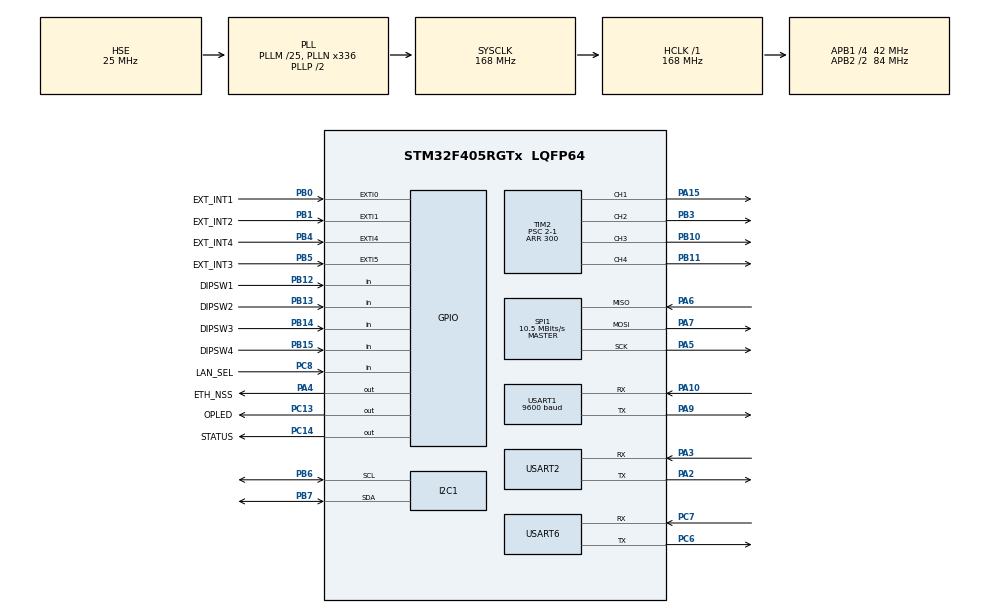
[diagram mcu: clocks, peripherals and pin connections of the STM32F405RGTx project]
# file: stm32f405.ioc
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FREERTOS.Tasks01=eventTask,0,2048,EventTask,Default,NULL,Dynamic,NULL,NULL
FREERTOS.Timers01=opledTimer,ledTimerCallback,osTimerPeriodic,Default,NULL,Dynamic,NULL
FREERTOS.configMINIMAL_STACK_SIZE=512
FREERTOS.configTIMER_TASK_STACK_DEPTH=2048
FREERTOS.configTOTAL_HEAP_SIZE=32768
FREERTOS.configUSE_NEWLIB_REENTRANT=1
FREERTOS.configUSE_TIMERS=1
Mcu.Family=STM32F4
Mcu.Name=STM32F405RGTx
Mcu.Package=LQFP64
NVIC.EXTI0_IRQn=true\:5\:0\:false\:false\:true\:false\:true\:true\:true
NVIC.EXTI1_IRQn=true\:5\:0\:false\:false\:true\:false\:true\:true\:true
NVIC.EXTI4_IRQn=true\:5\:0\:false\:false\:true\:false\:true\:true\:true
NVIC.EXTI9_5_IRQn=true\:5\:0\:false\:false\:true\:false\:true\:true\:true
NVIC.PriorityGroup=NVIC_PRIORITYGROUP_4
NVIC.TIM4_IRQn=true\:15\:0\:false\:false\:true\:false\:false\:true\:true
NVIC.TIM7_IRQn=true\:5\:0\:false\:false\:true\:true\:true\:true\:true
NVIC.TIM8_BRK_TIM12_IRQn=true\:5\:0\:false\:false\:true\:true\:true\:true\:true
NVIC.TIM8_TRG_COM_TIM14_IRQn=true\:5\:0\:false\:false\:true\:true\:true\:true\:true
NVIC.TIM8_UP_TIM13_IRQn=true\:5\:0\:false\:false\:true\:true\:true\:true\:true
NVIC.TimeBase=TIM4_IRQn
NVIC.TimeBaseIP=TIM4
NVIC.USART1_IRQn=true\:5\:0\:false\:false\:true\:true\:true\:true\:true
NVIC.USART2_IRQn=true\:5\:0\:false\:false\:true\:true\:true\:true\:true
NVIC.USART6_IRQn=true\:5\:0\:false\:false\:true\:true\:true\:true\:true
PA10.GPIO_PuPd=GPIO_PULLUP
PA10.Mode=Asynchronous
PA10.Signal=USART1_RX
PA13.Mode=Serial_Wire
PA13.Signal=SYS_JTMS-SWDIO
PA14.Mode=Serial_Wire
PA14.Signal=SYS_JTCK-SWCLK
PA15.Signal=S_TIM2_CH1_ETR
PA2.Mode=Asynchronous
PA2.Signal=USART2_TX
PA3.GPIO_PuPd=GPIO_PULLUP
PA3.Mode=Asynchronous
PA3.Signal=USART2_RX
PA4.GPIO_Label=ETH_NSS
PA4.Signal=GPIO_Output
PA5.Mode=Full_Duplex_Master
PA5.Signal=SPI1_SCK
PA6.Mode=Full_Duplex_Master
PA6.Signal=SPI1_MISO
PA7.Mode=Full_Duplex_Master
PA7.Signal=SPI1_MOSI
PA9.Mode=Asynchronous
PA9.Signal=USART1_TX
PB0.GPIO_Label=EXT_INT1
PB0.GPIO_ModeDefaultEXTI=GPIO_MODE_IT_RISING
PB0.Signal=GPXTI0
PB1.GPIO_Label=EXT_INT2
PB1.GPIO_ModeDefaultEXTI=GPIO_MODE_IT_RISING
PB1.Signal=GPXTI1
PB10.Signal=S_TIM2_CH3
PB11.Signal=S_TIM2_CH4
PB12.GPIO_Label=DIPSW1
PB12.GPIO_PuPd=GPIO_PULLUP
PB12.Signal=GPIO_Input
PB13.GPIO_Label=DIPSW2
PB13.GPIO_PuPd=GPIO_PULLUP
PB13.Signal=GPIO_Input
PB14.GPIO_Label=DIPSW3
PB14.GPIO_PuPd=GPIO_PULLUP
PB14.Signal=GPIO_Input
PB15.GPIO_Label=DIPSW4
PB15.GPIO_PuPd=GPIO_PULLUP
PB15.Signal=GPIO_Input
PB3.Signal=S_TIM2_CH2
PB4.GPIO_Label=EXT_INT4
PB4.GPIO_ModeDefaultEXTI=GPIO_MODE_IT_RISING
PB4.Signal=GPXTI4
PB5.GPIO_Label=EXT_INT3
PB5.GPIO_ModeDefaultEXTI=GPIO_MODE_IT_RISING
PB5.Signal=GPXTI5
PB6.Mode=I2C
PB6.Signal=I2C1_SCL
PB7.Mode=I2C
PB7.Signal=I2C1_SDA
PC13-ANTI_TAMP.GPIO_Label=OPLED
PC13-ANTI_TAMP.Signal=GPIO_Output
PC14-OSC32_IN.GPIO_Label=STATUS
PC14-OSC32_IN.Signal=GPIO_Output
PC6.Mode=Asynchronous
PC6.Signal=USART6_TX
PC7.Mode=Asynchronous
PC7.Signal=USART6_RX
PC8.GPIO_Label=LAN_SEL
PC8.GPIO_PuPd=GPIO_NOPULL
PC8.Signal=GPIO_Input
PH0-OSC_IN.Mode=HSE-External-Oscillator
PH0-OSC_IN.Signal=RCC_OSC_IN
PH1-OSC_OUT.Mode=HSE-External-Oscillator
PH1-OSC_OUT.Signal=RCC_OSC_OUT
ProjectManager.HeapSize=0x200
ProjectManager.StackSize=0x400
ProjectManager.TargetToolchain=STM32CubeIDE
RCC.48MHZClocksFreq_Value=84000000
RCC.AHBFreq_Value=168000000
RCC.APB1CLKDivider=RCC_HCLK_DIV4
RCC.APB1Freq_Value=42000000
RCC.APB1TimFreq_Value=84000000
RCC.APB2CLKDivider=RCC_HCLK_DIV2
RCC.APB2Freq_Value=84000000
RCC.APB2TimFreq_Value=168000000
RCC.CortexFreq_Value=168000000
RCC.HCLKFreq_Value=168000000
RCC.HSE_VALUE=25000000
RCC.HSI_VALUE=16000000
RCC.LSE_VALUE=32768
RCC.PLLM=25
RCC.PLLN=336
RCC.PLLSourceVirtual=RCC_PLLSOURCE_HSE
RCC.SYSCLKFreq_VALUE=168000000
RCC.SYSCLKSource=RCC_SYSCLKSOURCE_PLLCLK
RCC.VCOOutputFreq_Value=336000000
SH.S_TIM2_CH1_ETR.0=TIM2_CH1,PWM Generation1 CH1
SH.S_TIM2_CH2.0=TIM2_CH2,PWM Generation2 CH2
SH.S_TIM2_CH3.0=TIM2_CH3,PWM Generation3 CH3
SH.S_TIM2_CH4.0=TIM2_CH4,PWM Generation4 CH4
SPI1.BaudRatePrescaler=SPI_BAUDRATEPRESCALER_8
SPI1.CalculateBaudRate=10.5 MBits/s
SPI1.Direction=SPI_DIRECTION_2LINES
SPI1.Mode=SPI_MODE_MASTER
SPI1.VirtualType=VM_MASTER
TIM12.Period=10
TIM12.Prescaler=84-1
TIM13.Period=10
TIM13.Prescaler=84-1
TIM14.Period=10
TIM14.Prescaler=84-1
TIM2.Channel-PWM\ Generation1\ CH1=TIM_CHANNEL_1
TIM2.Channel-PWM\ Generation2\ CH2=TIM_CHANNEL_2
TIM2.Channel-PWM\ Generation3\ CH3=TIM_CHANNEL_3
TIM2.Channel-PWM\ Generation4\ CH4=TIM_CHANNEL_4
TIM2.OCFastMode_PWM-PWM\ Generation1\ CH1=TIM_OCFAST_ENABLE
TIM2.OCFastMode_PWM-PWM\ Generation2\ CH2=TIM_OCFAST_ENABLE
TIM2.OCFastMode_PWM-PWM\ Generation3\ CH3=TIM_OCFAST_ENABLE
TIM2.OCFastMode_PWM-PWM\ Generation4\ CH4=TIM_OCFAST_ENABLE
TIM2.Period=300
TIM2.Prescaler=2-1
TIM7.Period=10
TIM7.Prescaler=84-1
USART1.BaudRate=9600
USART1.VirtualMode=VM_ASYNC
USART2.VirtualMode=VM_ASYNC
USART6.VirtualMode=VM_ASYNC
VP_FREERTOS_VS_CMSIS_V1.Mode=CMSIS_V1
VP_SYS_VS_tim4.Mode=TIM4
VP_TIM12_VS_ClockSourceINT.Mode=Internal
VP_TIM13_VS_ClockSourceINT.Mode=Enable_Timer
VP_TIM14_VS_ClockSourceINT.Mode=Enable_Timer
VP_TIM7_VS_ClockSourceINT.Mode=Enable_Timer
board=custom

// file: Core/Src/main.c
/* USER CODE BEGIN Header */
/**
  ******************************************************************************
  * @file           : main.c
  * @brief          : Main program body
  ******************************************************************************
  * @attention
  *
  * Copyright (c) 2024 STMicroelectronics.
  * All rights reserved.
  *
  * This software is licensed under terms that can be found in the LICENSE file
  * in the root directory of this software component.
  * If no LICENSE file comes with this software, it is provided AS-IS.
  *
  ******************************************************************************
  */
/* USER CODE END Header */
#include "main.h"
#include "cmsis_os.h"

/* USER CODE BEGIN Includes */
#include "m_normal.h"
#include "m_pwm.h"
#include "m_serial.h"
#include "m_env.h"
#include "m_ether.h"
/* USER CODE END Includes */

/* USER CODE BEGIN PTD */
typedef  void (*pFunction)(void);
/* USER CODE END PTD */

/* USER CODE BEGIN PD */
#define COMPUTE_BUILD_YEAR \
    ( \
        (__DATE__[ 7] - '0') * 1000 + \
        (__DATE__[ 8] - '0') *  100 + \
        (__DATE__[ 9] - '0') *   10 + \
        (__DATE__[10] - '0') \
    )

#define COMPUTE_BUILD_DAY \
    ( \
        ((__DATE__[4] >= '0') ? (__DATE__[4] - '0') * 10 : 0) + \
        (__DATE__[5] - '0') \
    )

#define BUILD_MONTH_IS_JAN (__DATE__[0] == 'J' && __DATE__[1] == 'a' && __DATE__[2] == 'n')
#define BUILD_MONTH_IS_FEB (__DATE__[0] == 'F')
#define BUILD_MONTH_IS_MAR (__DATE__[0] == 'M' && __DATE__[1] == 'a' && __DATE__[2] == 'r')
#define BUILD_MONTH_IS_APR (__DATE__[0] == 'A' && __DATE__[1] == 'p')
#define BUILD_MONTH_IS_MAY (__DATE__[0] == 'M' && __DATE__[1] == 'a' && __DATE__[2] == 'y')
#define BUILD_MONTH_IS_JUN (__DATE__[0] == 'J' && __DATE__[1] == 'u' && __DATE__[2] == 'n')
#define BUILD_MONTH_IS_JUL (__DATE__[0] == 'J' && __DATE__[1] == 'u' && __DATE__[2] == 'l')
#define BUILD_MONTH_IS_AUG (__DATE__[0] == 'A' && __DATE__[1] == 'u')
#define BUILD_MONTH_IS_SEP (__DATE__[0] == 'S')
#define BUILD_MONTH_IS_OCT (__DATE__[0] == 'O')
#define BUILD_MONTH_IS_NOV (__DATE__[0] == 'N')
#define BUILD_MONTH_IS_DEC (__DATE__[0] == 'D')

#define COMPUTE_BUILD_MONTH \
    ( \
        (BUILD_MONTH_IS_JAN) ?  1 : \
        (BUILD_MONTH_IS_FEB) ?  2 : \
        (BUILD_MONTH_IS_MAR) ?  3 : \
        (BUILD_MONTH_IS_APR) ?  4 : \
        (BUILD_MONTH_IS_MAY) ?  5 : \
        (BUILD_MONTH_IS_JUN) ?  6 : \
        (BUILD_MONTH_IS_JUL) ?  7 : \
        (BUILD_MONTH_IS_AUG) ?  8 : \
        (BUILD_MONTH_IS_SEP) ?  9 : \
        (BUILD_MONTH_IS_OCT) ? 10 : \
        (BUILD_MONTH_IS_NOV) ? 11 : \
        (BUILD_MONTH_IS_DEC) ? 12 : \
        /* error default */  99 \
    )

#define COMPUTE_BUILD_HOUR ((__TIME__[0] - '0') * 10 + __TIME__[1] - '0')
#define COMPUTE_BUILD_MIN  ((__TIME__[3] - '0') * 10 + __TIME__[4] - '0')
#define COMPUTE_BUILD_SEC  ((__TIME__[6] - '0') * 10 + __TIME__[7] - '0')

#define BUILD_DATE_IS_BAD (__DATE__[0] == '?')

#define BUILD_YEAR  ((BUILD_DATE_IS_BAD) ? 99 : COMPUTE_BUILD_YEAR)
#define BUILD_MONTH ((BUILD_DATE_IS_BAD) ? 99 : COMPUTE_BUILD_MONTH)
#define BUILD_DAY   ((BUILD_DATE_IS_BAD) ? 99 : COMPUTE_BUILD_DAY)

#define BUILD_TIME_IS_BAD (__TIME__[0] == '?')

#define BUILD_HOUR  ((BUILD_TIME_IS_BAD) ? 99 :  COMPUTE_BUILD_HOUR)
#define BUILD_MIN   ((BUILD_TIME_IS_BAD) ? 99 :  COMPUTE_BUILD_MIN)
#define BUILD_SEC   ((BUILD_TIME_IS_BAD) ? 99 :  COMPUTE_BUILD_SEC)

//#define _VERSION_	"0.1.0"
#define _VERSION_	"0.2.0"	// Add LAN Mode

#define OP_LED_TIMER_TICK	500
/* USER CODE END PD */

I2C_HandleTypeDef hi2c1;

SPI_HandleTypeDef hspi1;

TIM_HandleTypeDef htim2;
TIM_HandleTypeDef htim7;
TIM_HandleTypeDef htim12;
TIM_HandleTypeDef htim13;
TIM_HandleTypeDef htim14;

UART_HandleTypeDef huart1;
UART_HandleTypeDef huart2;
UART_HandleTypeDef huart6;

osThreadId eventTaskHandle;
osTimerId opledTimerHandle;

void SystemClock_Config(void);
static void MX_GPIO_Init(void);
static void MX_I2C1_Init(void);
static void MX_SPI1_Init(void);
static void MX_TIM2_Init(void);
static void MX_TIM7_Init(void);
static void MX_TIM12_Init(void);
static void MX_TIM13_Init(void);
static void MX_TIM14_Init(void);
static void MX_USART2_UART_Init(void);
static void MX_USART6_UART_Init(void);
static void MX_USART1_UART_Init(void);
void EventTask(void const * argument);
void ledTimerCallback(void const * argument);

/* USER CODE BEGIN 0 */
const char* get_model(void)
{
	return "MCV2004";
}

static void banner(void)
{
	LOG_INF("======================================================");
	LOG_INF("\t YNS Vision LED Controller");
	LOG_INF("\t Build Data	: %04d-%02d-%02d %02d:%02d:%02d", BUILD_YEAR, BUILD_MONTH, BUILD_DAY,
			BUILD_HOUR, BUILD_MIN, BUILD_SEC);
	LOG_INF("\tModel		: %s", get_model());
	LOG_INF("\tVersion		: %s", _VERSION_);
	LOG_INF("======================================================");
}

#define SYSTEMBOOT_ADDR		0x1FFF0000
void JumpBootLoader(void)
{
    volatile uint32_t JumpAddress = *(__IO uint32_t*)(SYSTEMBOOT_ADDR+4);
    pFunction Jump_To_Application = (pFunction)JumpAddress;

    HAL_UART_DeInit(&huart6);
#if 0
    HAL_UART_DeInit(&huart1);
    HAL_UART_MspDeInit(&huart1);
#endif
    HAL_UART_MspDeInit(&huart6);

    HAL_RCC_DeInit();
#if 0
    HAL_SuspendTick();
    HAL_DeInit();
#else
    SysTick->CTRL = 0;
    SysTick->LOAD = 0;
    SysTick->VAL = 0;
#endif
    // __disable_irq();  << ---- check

    SYSCFG->MEMRMP = 0x01;

    __set_MSP(*(__IO uint32_t *)SYSTEMBOOT_ADDR);

    Jump_To_Application();
}
/* USER CODE END 0 */

int main(void)
{

  /* MCU Configuration--------------------------------------------------------*/

  /* Reset of all peripherals, Initializes the Flash interface and the Systick. */
  HAL_Init();

  /* Configure the system clock */
  SystemClock_Config();

  /* Initialize all configured peripherals */
  MX_GPIO_Init();
  MX_I2C1_Init();
  MX_SPI1_Init();
  MX_TIM2_Init();
  MX_TIM7_Init();
  MX_TIM12_Init();
  MX_TIM13_Init();
  MX_TIM14_Init();
  MX_USART2_UART_Init();
  MX_USART6_UART_Init();
  MX_USART1_UART_Init();
  /* USER CODE BEGIN 2 */

  banner();

  if(m_event_init()){
	  LOG_ERR("Event queue Initialize Error!!");
	  HAL_Delay(500);
	  HAL_NVIC_SystemReset();
  }
  m_menu_normal_init();
  m_serial_init();
  m_pwm_init();
  /* USER CODE END 2 */

  /* Create the timer(s) */
  /* definition and creation of opledTimer */
  osTimerDef(opledTimer, ledTimerCallback);
  opledTimerHandle = osTimerCreate(osTimer(opledTimer), osTimerPeriodic, NULL);

  /* Create the thread(s) */
  /* definition and creation of eventTask */
  osThreadDef(eventTask, EventTask, osPriorityNormal, 0, 2048);
  eventTaskHandle = osThreadCreate(osThread(eventTask), NULL);

  /* Start scheduler */
  osKernelStart();

  /* We should never get here as control is now taken by the scheduler */

  /* Infinite loop */
  while (1)
  {

  }
}

void SystemClock_Config(void)
{
  RCC_OscInitTypeDef RCC_OscInitStruct = {0};
  RCC_ClkInitTypeDef RCC_ClkInitStruct = {0};

  /** Configure the main internal regulator output voltage
  */
  __HAL_RCC_PWR_CLK_ENABLE();
  __HAL_PWR_VOLTAGESCALING_CONFIG(PWR_REGULATOR_VOLTAGE_SCALE1);

  /** Initializes the RCC Oscillators according to the specified parameters
  * in the RCC_OscInitTypeDef structure.
  */
  RCC_OscInitStruct.OscillatorType = RCC_OSCILLATORTYPE_HSE;
  RCC_OscInitStruct.HSEState = RCC_HSE_ON;
  RCC_OscInitStruct.PLL.PLLState = RCC_PLL_ON;
  RCC_OscInitStruct.PLL.PLLSource = RCC_PLLSOURCE_HSE;
  RCC_OscInitStruct.PLL.PLLM = 25;
  RCC_OscInitStruct.PLL.PLLN = 336;
  RCC_OscInitStruct.PLL.PLLP = RCC_PLLP_DIV2;
  RCC_OscInitStruct.PLL.PLLQ = 4;
  if (HAL_RCC_OscConfig(&RCC_OscInitStruct) != HAL_OK)
  {
    Error_Handler();
  }

  /** Initializes the CPU, AHB and APB buses clocks
  */
  RCC_ClkInitStruct.ClockType = RCC_CLOCKTYPE_HCLK|RCC_CLOCKTYPE_SYSCLK
                              |RCC_CLOCKTYPE_PCLK1|RCC_CLOCKTYPE_PCLK2;
  RCC_ClkInitStruct.SYSCLKSource = RCC_SYSCLKSOURCE_PLLCLK;
  RCC_ClkInitStruct.AHBCLKDivider = RCC_SYSCLK_DIV1;
  RCC_ClkInitStruct.APB1CLKDivider = RCC_HCLK_DIV4;
  RCC_ClkInitStruct.APB2CLKDivider = RCC_HCLK_DIV2;

  if (HAL_RCC_ClockConfig(&RCC_ClkInitStruct, FLASH_LATENCY_5) != HAL_OK)
  {
    Error_Handler();
  }
}

static void MX_I2C1_Init(void)
{

  hi2c1.Instance = I2C1;
  hi2c1.Init.ClockSpeed = 100000;
  hi2c1.Init.DutyCycle = I2C_DUTYCYCLE_2;
  hi2c1.Init.OwnAddress1 = 0;
  hi2c1.Init.AddressingMode = I2C_ADDRESSINGMODE_7BIT;
  hi2c1.Init.DualAddressMode = I2C_DUALADDRESS_DISABLE;
  hi2c1.Init.OwnAddress2 = 0;
  hi2c1.Init.GeneralCallMode = I2C_GENERALCALL_DISABLE;
  hi2c1.Init.NoStretchMode = I2C_NOSTRETCH_DISABLE;
  if (HAL_I2C_Init(&hi2c1) != HAL_OK)
  {
    Error_Handler();
  }

}

static void MX_SPI1_Init(void)
{

  /* SPI1 parameter configuration*/
  hspi1.Instance = SPI1;
  hspi1.Init.Mode = SPI_MODE_MASTER;
  hspi1.Init.Direction = SPI_DIRECTION_2LINES;
  hspi1.Init.DataSize = SPI_DATASIZE_8BIT;
  hspi1.Init.CLKPolarity = SPI_POLARITY_LOW;
  hspi1.Init.CLKPhase = SPI_PHASE_1EDGE;
  hspi1.Init.NSS = SPI_NSS_SOFT;
  hspi1.Init.BaudRatePrescaler = SPI_BAUDRATEPRESCALER_8;
  hspi1.Init.FirstBit = SPI_FIRSTBIT_MSB;
  hspi1.Init.TIMode = SPI_TIMODE_DISABLE;
  hspi1.Init.CRCCalculation = SPI_CRCCALCULATION_DISABLE;
  hspi1.Init.CRCPolynomial = 10;
  if (HAL_SPI_Init(&hspi1) != HAL_OK)
  {
    Error_Handler();
  }

}

static void MX_TIM2_Init(void)
{

  TIM_MasterConfigTypeDef sMasterConfig = {0};
  TIM_OC_InitTypeDef sConfigOC = {0};

  htim2.Instance = TIM2;
  htim2.Init.Prescaler = 2-1;
  htim2.Init.CounterMode = TIM_COUNTERMODE_UP;
  htim2.Init.Period = 300;
  htim2.Init.ClockDivision = TIM_CLOCKDIVISION_DIV1;
  htim2.Init.AutoReloadPreload = TIM_AUTORELOAD_PRELOAD_DISABLE;
  if (HAL_TIM_PWM_Init(&htim2) != HAL_OK)
  {
    Error_Handler();
  }
  sMasterConfig.MasterOutputTrigger = TIM_TRGO_RESET;
  sMasterConfig.MasterSlaveMode = TIM_MASTERSLAVEMODE_DISABLE;
  if (HAL_TIMEx_MasterConfigSynchronization(&htim2, &sMasterConfig) != HAL_OK)
  {
    Error_Handler();
  }
  sConfigOC.OCMode = TIM_OCMODE_PWM1;
  sConfigOC.Pulse = 0;
  sConfigOC.OCPolarity = TIM_OCPOLARITY_HIGH;
  sConfigOC.OCFastMode = TIM_OCFAST_ENABLE;
  if (HAL_TIM_PWM_ConfigChannel(&htim2, &sConfigOC, TIM_CHANNEL_1) != HAL_OK)
  {
    Error_Handler();
  }
  if (HAL_TIM_PWM_ConfigChannel(&htim2, &sConfigOC, TIM_CHANNEL_2) != HAL_OK)
  {
    Error_Handler();
  }
  if (HAL_TIM_PWM_ConfigChannel(&htim2, &sConfigOC, TIM_CHANNEL_3) != HAL_OK)
  {
    Error_Handler();
  }
  if (HAL_TIM_PWM_ConfigChannel(&htim2, &sConfigOC, TIM_CHANNEL_4) != HAL_OK)
  {
    Error_Handler();
  }
  HAL_TIM_MspPostInit(&htim2);

}

static void MX_TIM7_Init(void)
{

  TIM_MasterConfigTypeDef sMasterConfig = {0};

  htim7.Instance = TIM7;
  htim7.Init.Prescaler = 84-1;
  htim7.Init.CounterMode = TIM_COUNTERMODE_UP;
  htim7.Init.Period = 10;
  htim7.Init.AutoReloadPreload = TIM_AUTORELOAD_PRELOAD_DISABLE;
  if (HAL_TIM_Base_Init(&htim7) != HAL_OK)
  {
    Error_Handler();
  }
  sMasterConfig.MasterOutputTrigger = TIM_TRGO_RESET;
  sMasterConfig.MasterSlaveMode = TIM_MASTERSLAVEMODE_DISABLE;
  if (HAL_TIMEx_MasterConfigSynchronization(&htim7, &sMasterConfig) != HAL_OK)
  {
    Error_Handler();
  }

}

static void MX_TIM12_Init(void)
{

  TIM_ClockConfigTypeDef sClockSourceConfig = {0};

  htim12.Instance = TIM12;
  htim12.Init.Prescaler = 84-1;
  htim12.Init.CounterMode = TIM_COUNTERMODE_UP;
  htim12.Init.Period = 10;
  htim12.Init.ClockDivision = TIM_CLOCKDIVISION_DIV1;
  htim12.Init.AutoReloadPreload = TIM_AUTORELOAD_PRELOAD_DISABLE;
  if (HAL_TIM_Base_Init(&htim12) != HAL_OK)
  {
    Error_Handler();
  }
  sClockSourceConfig.ClockSource = TIM_CLOCKSOURCE_INTERNAL;
  if (HAL_TIM_ConfigClockSource(&htim12, &sClockSourceConfig) != HAL_OK)
  {
    Error_Handler();
  }

}

static void MX_TIM13_Init(void)
{

  htim13.Instance = TIM13;
  htim13.Init.Prescaler = 84-1;
  htim13.Init.CounterMode = TIM_COUNTERMODE_UP;
  htim13.Init.Period = 10;
  htim13.Init.ClockDivision = TIM_CLOCKDIVISION_DIV1;
  htim13.Init.AutoReloadPreload = TIM_AUTORELOAD_PRELOAD_DISABLE;
  if (HAL_TIM_Base_Init(&htim13) != HAL_OK)
  {
    Error_Handler();
  }

}

static void MX_TIM14_Init(void)
{

  htim14.Instance = TIM14;
  htim14.Init.Prescaler = 84-1;
  htim14.Init.CounterMode = TIM_COUNTERMODE_UP;
  htim14.Init.Period = 10;
  htim14.Init.ClockDivision = TIM_CLOCKDIVISION_DIV1;
  htim14.Init.AutoReloadPreload = TIM_AUTORELOAD_PRELOAD_DISABLE;
  if (HAL_TIM_Base_Init(&htim14) != HAL_OK)
  {
    Error_Handler();
  }

}

static void MX_USART1_UART_Init(void)
{

  huart1.Instance = USART1;
  huart1.Init.BaudRate = 9600;
  huart1.Init.WordLength = UART_WORDLENGTH_8B;
  huart1.Init.StopBits = UART_STOPBITS_1;
  huart1.Init.Parity = UART_PARITY_NONE;
  huart1.Init.Mode = UART_MODE_TX_RX;
  huart1.Init.HwFlowCtl = UART_HWCONTROL_NONE;
  huart1.Init.OverSampling = UART_OVERSAMPLING_16;
  if (HAL_UART_Init(&huart1) != HAL_OK)
  {
    Error_Handler();
  }

}

static void MX_USART2_UART_Init(void)
{

  huart2.Instance = USART2;
  huart2.Init.BaudRate = 115200;
  huart2.Init.WordLength = UART_WORDLENGTH_8B;
  huart2.Init.StopBits = UART_STOPBITS_1;
  huart2.Init.Parity = UART_PARITY_NONE;
  huart2.Init.Mode = UART_MODE_TX_RX;
  huart2.Init.HwFlowCtl = UART_HWCONTROL_NONE;
  huart2.Init.OverSampling = UART_OVERSAMPLING_16;
  if (HAL_UART_Init(&huart2) != HAL_OK)
  {
    Error_Handler();
  }

}

static void MX_USART6_UART_Init(void)
{

  huart6.Instance = USART6;
  huart6.Init.BaudRate = 115200;
  huart6.Init.WordLength = UART_WORDLENGTH_8B;
  huart6.Init.StopBits = UART_STOPBITS_1;
  huart6.Init.Parity = UART_PARITY_NONE;
  huart6.Init.Mode = UART_MODE_TX_RX;
  huart6.Init.HwFlowCtl = UART_HWCONTROL_NONE;
  huart6.Init.OverSampling = UART_OVERSAMPLING_16;
  if (HAL_UART_Init(&huart6) != HAL_OK)
  {
    Error_Handler();
  }

}

static void MX_GPIO_Init(void)
{
  GPIO_InitTypeDef GPIO_InitStruct = {0};

  /* GPIO Ports Clock Enable */
  __HAL_RCC_GPIOC_CLK_ENABLE();
  __HAL_RCC_GPIOH_CLK_ENABLE();
  __HAL_RCC_GPIOA_CLK_ENABLE();
  __HAL_RCC_GPIOB_CLK_ENABLE();

  /*Configure GPIO pin Output Level */
  HAL_GPIO_WritePin(GPIOC, OPLED_Pin|STATUS_Pin, GPIO_PIN_RESET);

  /*Configure GPIO pin Output Level */
  HAL_GPIO_WritePin(ETH_NSS_GPIO_Port, ETH_NSS_Pin, GPIO_PIN_RESET);

  /*Configure GPIO pins : OPLED_Pin STATUS_Pin */
  GPIO_InitStruct.Pin = OPLED_Pin|STATUS_Pin;
  GPIO_InitStruct.Mode = GPIO_MODE_OUTPUT_PP;
  GPIO_InitStruct.Pull = GPIO_NOPULL;
  GPIO_InitStruct.Speed = GPIO_SPEED_FREQ_LOW;
  HAL_GPIO_Init(GPIOC, &GPIO_InitStruct);

  /*Configure GPIO pin : ETH_NSS_Pin */
  GPIO_InitStruct.Pin = ETH_NSS_Pin;
  GPIO_InitStruct.Mode = GPIO_MODE_OUTPUT_PP;
  GPIO_InitStruct.Pull = GPIO_NOPULL;
  GPIO_InitStruct.Speed = GPIO_SPEED_FREQ_LOW;
  HAL_GPIO_Init(ETH_NSS_GPIO_Port, &GPIO_InitStruct);

  /*Configure GPIO pins : EXT_INT1_Pin EXT_INT2_Pin EXT_INT4_Pin EXT_INT3_Pin */
  GPIO_InitStruct.Pin = EXT_INT1_Pin|EXT_INT2_Pin|EXT_INT4_Pin|EXT_INT3_Pin;
  GPIO_InitStruct.Mode = GPIO_MODE_IT_RISING;
  GPIO_InitStruct.Pull = GPIO_NOPULL;
  HAL_GPIO_Init(GPIOB, &GPIO_InitStruct);

  /*Configure GPIO pins : DIPSW1_Pin DIPSW2_Pin DIPSW3_Pin DIPSW4_Pin */
  GPIO_InitStruct.Pin = DIPSW1_Pin|DIPSW2_Pin|DIPSW3_Pin|DIPSW4_Pin;
  GPIO_InitStruct.Mode = GPIO_MODE_INPUT;
  GPIO_InitStruct.Pull = GPIO_PULLUP;
  HAL_GPIO_Init(GPIOB, &GPIO_InitStruct);

  /*Configure GPIO pin : LAN_SEL_Pin */
  GPIO_InitStruct.Pin = LAN_SEL_Pin;
  GPIO_InitStruct.Mode = GPIO_MODE_INPUT;
  GPIO_InitStruct.Pull = GPIO_NOPULL;
  HAL_GPIO_Init(LAN_SEL_GPIO_Port, &GPIO_InitStruct);

  /* EXTI interrupt init*/
  HAL_NVIC_SetPriority(EXTI0_IRQn, 5, 0);
  HAL_NVIC_EnableIRQ(EXTI0_IRQn);

  HAL_NVIC_SetPriority(EXTI1_IRQn, 5, 0);
  HAL_NVIC_EnableIRQ(EXTI1_IRQn);

  HAL_NVIC_SetPriority(EXTI4_IRQn, 5, 0);
  HAL_NVIC_EnableIRQ(EXTI4_IRQn);

  HAL_NVIC_SetPriority(EXTI9_5_IRQn, 5, 0);
  HAL_NVIC_EnableIRQ(EXTI9_5_IRQn);

}

/* USER CODE BEGIN 4 */
static void evt_handler(event_t const* evt, void* p_context)
{
	switch (evt->event)
	{
		default:
			break;
	}
}

/* USER CODE END 4 */

void EventTask(void const * argument)
{
  /* USER CODE BEGIN 5 */
	event_queue_observer_t main_evt;

	LOG_INF("Run Event Task");

	EthernetInit();

	main_evt.handler = evt_handler;
	main_evt.p_context = NULL;

	m_event_register(&main_evt);

	osTimerStart(opledTimerHandle, OP_LED_TIMER_TICK);
	push_event0(EVT_menu_start);
  /* Infinite loop */
  for(;;)
  {
	  m_event_dispatch();
    //osDelay(1);
  }
  /* USER CODE END 5 */
}

/* ledTimerCallback function */
void ledTimerCallback(void const * argument)
{
  /* USER CODE BEGIN ledTimerCallback */
	HAL_GPIO_TogglePin(OPLED_GPIO_Port, OPLED_Pin);
  /* USER CODE END ledTimerCallback */
}

void HAL_TIM_PeriodElapsedCallback(TIM_HandleTypeDef *htim)
{
  if (htim->Instance == TIM4) {
    HAL_IncTick();
  }
}

void Error_Handler(void)
{
  __disable_irq();
  while (1)
  {
  }
}
